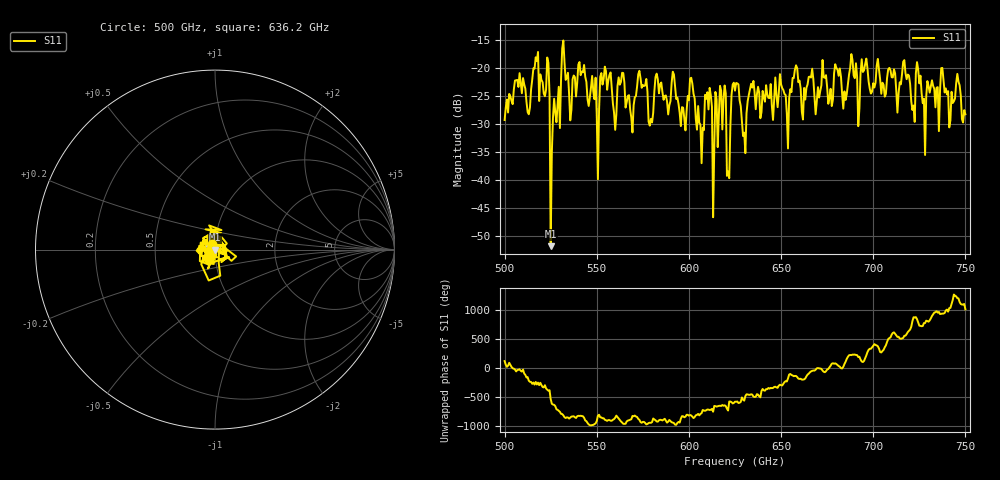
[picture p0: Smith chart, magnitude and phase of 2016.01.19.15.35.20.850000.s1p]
!Created with skrf (http://scikit-rf.org).
# GHz S RI R 50.0
!freq ReS11 ImS11
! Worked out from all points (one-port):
!   401 points, 500 GHz to 750 GHz, reference 50 ohm
!   lowest |S11| = -51.9 dB at 525 GHz (marker M1), VSWR 1.01, Z = 49.7 + j0.00513 ohm
!   |S11| at or under -10 dB: start of sweep to end of sweep
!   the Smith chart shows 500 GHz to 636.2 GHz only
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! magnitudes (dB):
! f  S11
! 500 GHz  -29.3
! 506.9 GHz  -22.2
! 513.1 GHz  -28.3
! 516.9 GHz  -18.1
! 523.1 GHz  -18.1
! 525 GHz  -51.9
! 531.2 GHz  -16.6
! 550 GHz  -28.7
! 553.1 GHz  -23.0
! 559.4 GHz  -28.0
! 562.5 GHz  -23.0
! 579.4 GHz  -29.1
! 583.1 GHz  -22.0
! 593.8 GHz  -25.3
! 601.9 GHz  -22.9
! 606.9 GHz  -37.1
! 610.6 GHz  -27.4
! 614.4 GHz  -24.3
! 618.1 GHz  -31.0
! 621.9 GHz  -39.7
! 625 GHz  -24.1
! 630 GHz  -31.6
! 633.8 GHz  -22.9
! 656.2 GHz  -21.8
! 684.4 GHz  -24.2
! 687.5 GHz  -20.0
! 718.8 GHz  -21.2
! 750 GHz  -28.3
